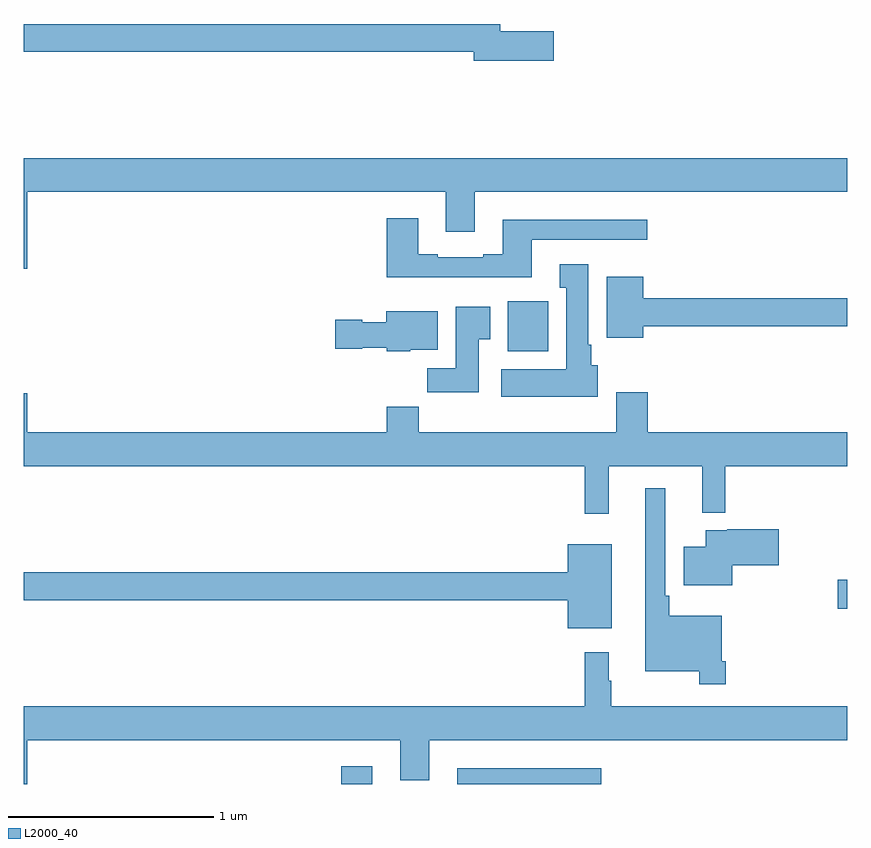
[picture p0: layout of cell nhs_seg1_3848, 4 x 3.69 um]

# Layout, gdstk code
import gdstk
lib = gdstk.Library(unit=1e-6, precision=1e-09)
def R(c, l, rs):  # rectangles x0, y0, x1, y1
    for r in rs: c.add(gdstk.rectangle(r[:2], r[2:], *l))
def P(c, l, *ps):  # polygons
    for p in ps: c.add(gdstk.Polygon(p, *l))
L2000_40 = (2000, 40)

nhs_seg1_3848 = lib.new_cell('nhs_seg1_3848')
R(nhs_seg1_3848, L2000_40, [(322.541,538.199,322.693,538.285), (323.105,538.199,323.806,538.276), (324.954,539.05,325,539.192), (323.351,540.302,323.548,540.544)])
P(nhs_seg1_3848, L2000_40, [(323.575,541.856),(323.314,541.856),(323.314,541.892),(321,541.892),(321,541.756),(323.186,541.756),(323.186,541.714),(323.575,541.714)],
  [(321.016,541.076),(323.051,541.076),(323.051,540.882),(323.191,540.882),(323.191,541.076),(325,541.076),(325,541.24),(321,541.24),(321,540.702),(321.016,540.702)],
  [(323.467,540.843),(324.028,540.843),(324.028,540.94),(323.327,540.94),(323.327,540.772),(323.231,540.772),(323.231,540.759),(323.011,540.759),(323.011,540.772),(322.915,540.772),(322.915,540.949),(322.763,540.949),(322.763,540.662),(323.467,540.662)],
  [(323.788,540.234),(323.758,540.234),(323.758,540.334),(323.743,540.334),(323.743,540.724),(323.603,540.724),(323.603,540.611),(323.636,540.611),(323.636,540.214),(323.319,540.214),(323.319,540.08),(323.788,540.08)],
  [(324.01,540.424),(325,540.424),(325,540.56),(324.01,540.56),(324.01,540.664),(323.831,540.664),(323.831,540.368),(324.01,540.368)],
  [(323.209,540.361),(323.266,540.361),(323.266,540.517),(323.099,540.517),(323.099,540.22),(322.96,540.22),(322.96,540.102),(323.209,540.102)],
  [(322.878,540.308),(323.011,540.308),(323.011,540.496),(322.76,540.496),(322.76,540.442),(322.644,540.442),(322.644,540.455),(322.512,540.455),(322.512,540.313),(322.644,540.313),(322.644,540.32),(322.764,540.32),(322.764,540.302),(322.878,540.302)],
  [(323.843,539.744),(324.296,539.744),(324.296,539.516),(324.408,539.516),(324.408,539.744),(325,539.744),(325,539.908),(324.032,539.908),(324.032,540.103),(323.879,540.103),(323.879,539.908),(322.919,539.908),(322.919,540.032),(322.763,540.032),(322.763,539.908),(321.016,539.908),(321.016,540.097),(321,540.097),(321,539.744),(323.725,539.744),(323.725,539.511),(323.843,539.511)],
  [(324.41,538.795),(324.39,538.795),(324.39,539.017),(324.137,539.017),(324.137,539.113),(324.117,539.113),(324.117,539.635),(324.02,539.635),(324.02,538.748),(324.282,538.748),(324.282,538.683),(324.41,538.683)],
  [(324.442,539.261),(324.667,539.261),(324.667,539.436),(324.418,539.436),(324.418,539.431),(324.314,539.431),(324.314,539.353),(324.206,539.353),(324.206,539.165),(324.442,539.165)],
  [(323.857,539.365),(323.642,539.365),(323.642,539.228),(321,539.228),(321,539.092),(323.642,539.092),(323.642,538.955),(323.857,538.955)],
  [(321.016,538.412),(322.829,538.412),(322.829,538.218),(322.969,538.218),(322.969,538.412),(325,538.412),(325,538.576),(323.854,538.576),(323.854,538.7),(323.842,538.7),(323.842,538.84),(323.725,538.84),(323.725,538.576),(321,538.576),(321,538.199),(321.016,538.199)])

lib.write_gds('nhs_seg1_3848.gds')
